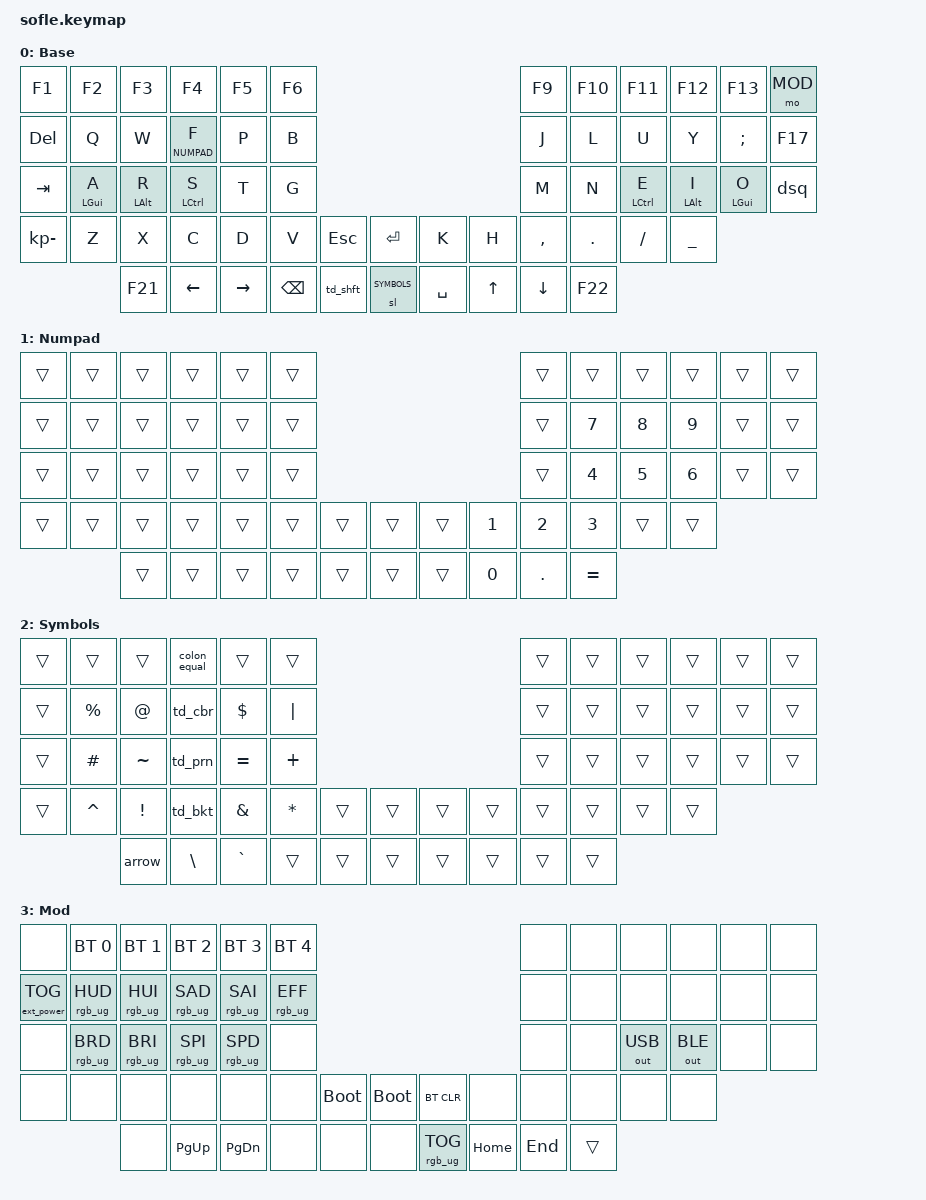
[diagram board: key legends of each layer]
/*
 * Adv360 keymap adapted to the Sofle FT: Base, Numpad, Symbols, Mod.
 * 60 normal keys, with no encoders. See README.md for layout.
 * Position order (left | right; inner keys are 42 and 43):
 *   0  1  2  3  4  5       |        6  7  8  9 10 11
 *  12 13 14 15 16 17       |       18 19 20 21 22 23
 *  24 25 26 27 28 29       |       30 31 32 33 34 35
 *  36 37 38 39 40 41 42    |    43 44 45 46 47 48 49
 *        50 51 52 53 54    |    55 56 57 58 59
 */

#include <behaviors.dtsi>
#include <dt-bindings/zmk/keys.h>
#include <dt-bindings/zmk/bt.h>
#include <dt-bindings/zmk/rgb.h>
#include <dt-bindings/zmk/outputs.h>
#include <dt-bindings/zmk/ext_power.h>

// Layers
#define DEFAULT 0
#define NUMPAD  1
#define SYMBOLS 2
#define MOD     3

// Home Row Mods
#define HM_A &hml LEFT_GUI A
#define HM_R &hml LEFT_ALT R
#define HM_S &hml LEFT_CONTROL S
#define HM_E &hmr LEFT_CONTROL E
#define HM_I &hmr LEFT_ALT I
#define HM_O &hmr LEFT_GUI O

// FalbaTech has 30 per-key LEDs on each half and no underglow LEDs.
&led_strip {
    chain-length = <30>;
};

&left_encoder {
    status = "disabled";
};

&right_encoder {
    status = "disabled";
};

&sensors {
    status = "disabled";
};

/ {
  macros {
    arrow: arrow {
      compatible = "zmk,behavior-macro";
      #binding-cells = <0>;
      bindings = <&macro_tap &kp MINUS &kp GREATER_THAN>;
    };

    colon_equal: colon_equal {
      compatible = "zmk,behavior-macro";
      #binding-cells = <0>;
      bindings = <&macro_tap &kp COLON &kp EQUAL>;
    };
  };

  behaviors {
    hml: homerow_mod_left {
      compatible = "zmk,behavior-hold-tap";
      #binding-cells = <2>;
      bindings = <&kp>, <&kp>;

      flavor = "balanced";
      tapping-term-ms = <240>;
      quick-tap-ms = <175>;
      require-prior-idle-ms = <150>;
      hold-trigger-on-release;

      // Sofle right half, including the inner key and thumb keys
      hold-trigger-key-positions = <6 7 8 9 10 11 18 19 20 21 22 23 30 31 32 33 34 35 43 44 45 46 47 48 49 55 56 57 58 59>;
    };

    hmr: homerow_mod_right {
      compatible = "zmk,behavior-hold-tap";
      #binding-cells = <2>;
      bindings = <&kp>, <&kp>;

      flavor = "balanced";
      tapping-term-ms = <240>;
      quick-tap-ms = <175>;
      require-prior-idle-ms = <150>;
      hold-trigger-on-release;

      // Sofle left half, including the inner key and thumb keys
      hold-trigger-key-positions = <0 1 2 3 4 5 12 13 14 15 16 17 24 25 26 27 28 29 36 37 38 39 40 41 42 50 51 52 53 54>;
    };

    dsq: double_single_quote {
      compatible = "zmk,behavior-mod-morph";
      #binding-cells = <0>;
      bindings = <&kp DOUBLE_QUOTES>, <&kp SINGLE_QUOTE>;
      mods = <MOD_LSFT>;
    };

    td_cc: tap_dance_copy_cut {
      compatible = "zmk,behavior-tap-dance";
      #binding-cells = <0>;
      tapping-term-ms = <200>;
      bindings = <&kp LC(C)>, <&kp LC(X)>;
    };

    td_cbr: tap_dance_curly_braces {
      compatible = "zmk,behavior-tap-dance";
      #binding-cells = <0>;
      tapping-term-ms = <200>;
      bindings = <&kp LEFT_BRACE>, <&kp RIGHT_BRACE>;
    };

    td_prn: tap_dance_parenthesis {
      compatible = "zmk,behavior-tap-dance";
      #binding-cells = <0>;
      tapping-term-ms = <200>;
      bindings = <&kp LEFT_PARENTHESIS>, <&kp RIGHT_PARENTHESIS>;
    };

    td_bkt: tap_dance_brakets {
      compatible = "zmk,behavior-tap-dance";
      #binding-cells = <0>;
      tapping-term-ms = <200>;
      bindings = <&kp LEFT_BRACKET>, <&kp RIGHT_BRACKET>;
    };

    skq: sticky_key_quick_release {
      compatible = "zmk,behavior-sticky-key";
      #binding-cells = <1>;
      bindings = <&kp>;
      release-after-ms = <1000>;
      quick-release;
      ignore-modifiers;
    };

    td_shft: tap_dance_shift {
      compatible = "zmk,behavior-tap-dance";
      #binding-cells = <0>;
      tapping-term-ms = <200>;
      bindings = <&skq LEFT_SHIFT>, <&caps_word>;
    };
  };

  keymap {
    compatible = "zmk,keymap";

    default_layer {
      display-name = "Base";
      bindings = <
        &kp F1        &kp F2  &kp F3   &kp F4        &kp F5     &kp F6                                        &kp F9  &kp F10    &kp F11  &kp F12   &kp F13          &mo MOD
        &kp DELETE    &kp Q   &kp W    &lt NUMPAD F  &kp P      &kp B                                         &kp J   &kp L      &kp U    &kp Y     &kp SEMI         &kp F17
        &kp TAB       HM_A    HM_R     HM_S          &kp T      &kp G                                         &kp M   &kp N      HM_E     HM_I      HM_O             &dsq
        &kp KP_MINUS  &kp Z   &kp X    &kp C         &kp D      &kp V     &kp ESC     &kp ENTER    &kp K      &kp H   &kp COMMA  &kp DOT  &kp FSLH  &kp UNDERSCORE
                              &kp F21  &kp LEFT      &kp RIGHT  &kp BKSP  &td_shft    &sl SYMBOLS  &kp SPACE  &kp UP  &kp DOWN   &kp F22
      >;
    };

    numpad {
      display-name = "Numpad";
      bindings = <
        &trans            &trans            &trans            &trans            &trans            &trans                                                &trans            &trans            &trans            &trans            &trans            &trans
        &trans            &trans            &trans            &trans            &trans            &trans                                                &trans            &kp N7            &kp N8            &kp N9            &trans            &trans
        &trans            &trans            &trans            &trans            &trans            &trans                                                &trans            &kp N4            &kp N5            &kp N6            &trans            &trans
        &trans            &trans            &trans            &trans            &trans            &trans            &trans            &trans            &trans            &kp N1            &kp N2            &kp N3            &trans            &trans
                                            &trans            &trans            &trans            &trans            &trans            &trans            &trans            &kp N0            &kp DOT           &kp EQUAL
      >;
    };

    symbols {
      display-name = "Symbols";
      bindings = <
        &trans            &trans            &trans            &colon_equal      &trans            &trans                                                &trans            &trans            &trans            &trans            &trans            &trans
        &trans            &kp PERCENT       &kp AT            &td_cbr           &kp DOLLAR        &kp PIPE                                              &trans            &trans            &trans            &trans            &trans            &trans
        &trans            &kp HASH          &kp TILDE         &td_prn           &kp EQUAL         &kp PLUS                                              &trans            &trans            &trans            &trans            &trans            &trans
        &trans            &kp CARET         &kp EXCLAMATION   &td_bkt           &kp AMPERSAND     &kp ASTERISK      &trans            &trans            &trans            &trans            &trans            &trans            &trans            &trans
                                            &arrow            &kp BACKSLASH     &kp GRAVE         &trans            &trans            &trans            &trans            &trans            &trans            &trans
      >;
    };

    mod {
      display-name = "Mod";
      bindings = <
        &none             &bt BT_SEL 0      &bt BT_SEL 1      &bt BT_SEL 2      &bt BT_SEL 3      &bt BT_SEL 4                                          &none             &none             &none             &none             &none             &none
        &ext_power EP_TOG &rgb_ug RGB_HUD   &rgb_ug RGB_HUI   &rgb_ug RGB_SAD   &rgb_ug RGB_SAI   &rgb_ug RGB_EFF                                       &none             &none             &none             &none             &none             &none
        &none             &rgb_ug RGB_BRD   &rgb_ug RGB_BRI   &rgb_ug RGB_SPI   &rgb_ug RGB_SPD   &none                                                 &none             &none             &out OUT_USB      &out OUT_BLE      &none             &none
        &none             &none             &none             &none             &none             &none             &bootloader       &bootloader       &bt BT_CLR        &none             &none             &none             &none             &none
                                            &none             &kp PG_UP         &kp PG_DN         &none             &none             &none             &rgb_ug RGB_TOG   &kp HOME          &kp END           &trans
      >;
    };
  };
};
